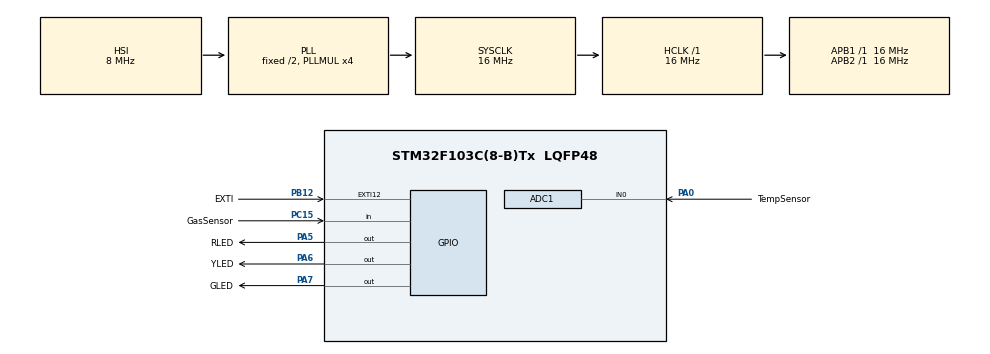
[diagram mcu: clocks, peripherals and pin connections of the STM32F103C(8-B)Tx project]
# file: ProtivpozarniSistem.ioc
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ADC1.Channel-0\#ChannelRegularConversion=ADC_CHANNEL_0
ADC1.NbrOfConversionFlag=1
ADC1.Rank-0\#ChannelRegularConversion=1
ADC1.SamplingTime-0\#ChannelRegularConversion=ADC_SAMPLETIME_1CYCLE_5
ADC1.master=1
FREERTOS.CountingSemaphores01=countingSemaphore,2,Dynamic,NULL
FREERTOS.Tasks01=checkGas,0,128,StartGasSensor,Default,NULL,Dynamic,NULL,NULL;checkTemperatur,0,128,StartTemperatureSensor,Default,NULL,Dynamic,NULL,NULL;runActions,1,128,StartRunActions,Default,NULL,Dynamic,NULL,NULL
FREERTOS.configUSE_COUNTING_SEMAPHORES=1
FREERTOS.configUSE_TIMERS=1
Mcu.Family=STM32F1
Mcu.Name=STM32F103C(8-B)Tx
Mcu.Package=LQFP48
NVIC.EXTI15_10_IRQn=true\:5\:0\:false\:true\:true\:1\:true\:true\:true\:true
NVIC.PriorityGroup=NVIC_PRIORITYGROUP_4
NVIC.TIM1_UP_IRQn=true\:15\:0\:false\:false\:true\:false\:false\:true\:true
NVIC.TimeBase=TIM1_UP_IRQn
NVIC.TimeBaseIP=TIM1
PA0-WKUP.GPIO_Label=TempSensor
PA0-WKUP.Signal=ADCx_IN0
PA13.Mode=Serial_Wire
PA13.Signal=SYS_JTMS-SWDIO
PA14.Mode=Serial_Wire
PA14.Signal=SYS_JTCK-SWCLK
PA5.GPIO_Label=RLED
PA5.Signal=GPIO_Output
PA6.GPIO_Label=YLED
PA6.Signal=GPIO_Output
PA7.GPIO_Label=GLED
PA7.Signal=GPIO_Output
PB12.GPIO_Label=EXTI
PB12.GPIO_PuPd=GPIO_PULLUP
PB12.Signal=GPXTI12
PC15-OSC32_OUT.GPIO_Label=GasSensor
PC15-OSC32_OUT.Signal=GPIO_Input
PD0-OSC_IN.Mode=HSE-External-Oscillator
PD0-OSC_IN.Signal=RCC_OSC_IN
PD1-OSC_OUT.Mode=HSE-External-Oscillator
PD1-OSC_OUT.Signal=RCC_OSC_OUT
ProjectManager.HeapSize=0x200
ProjectManager.StackSize=0x400
ProjectManager.TargetToolchain=MDK-ARM V5.32
RCC.AHBFreq_Value=16000000
RCC.APB1Freq_Value=16000000
RCC.APB1TimFreq_Value=16000000
RCC.APB2Freq_Value=16000000
RCC.APB2TimFreq_Value=16000000
RCC.HCLKFreq_Value=16000000
RCC.PLLMUL=RCC_PLL_MUL4
RCC.SYSCLKFreq_VALUE=16000000
RCC.SYSCLKSource=RCC_SYSCLKSOURCE_PLLCLK
RCC.USBFreq_Value=16000000
SH.ADCx_IN0.0=ADC1_IN0,IN0
VP_FREERTOS_VS_CMSIS_V1.Mode=CMSIS_V1
VP_SYS_VS_tim1.Mode=TIM1
board=custom

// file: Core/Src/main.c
/* USER CODE BEGIN Header */
/**
  ******************************************************************************
  * @file           : main.c
  * @brief          : Main program body
  ******************************************************************************
  * @attention
  *
  * Copyright (c) 2023 STMicroelectronics.
  * All rights reserved.
  *
  * This software is licensed under terms that can be found in the LICENSE file
  * in the root directory of this software component.
  * If no LICENSE file comes with this software, it is provided AS-IS.
  *
  ******************************************************************************
  */
/* USER CODE END Header */
#include "main.h"
#include "cmsis_os.h"

/* USER CODE BEGIN Includes */
#include "stdbool.h"
/* USER CODE END Includes */

ADC_HandleTypeDef hadc1;

osThreadId checkGasHandle;
osThreadId checkTemperaturHandle;
osThreadId runActionsHandle;
osSemaphoreId countingSemaphoreHandle;
/* USER CODE BEGIN PV */
volatile float currentTemp = 0.0;
const float maxTemp = 150.0;

volatile bool isGasDetected = false;
volatile bool areSprinklersActivated = false;
/* USER CODE END PV */

void SystemClock_Config(void);
static void MX_GPIO_Init(void);
static void MX_ADC1_Init(void);
void StartGasSensor(void const * argument);
void StartTemperatureSensor(void const * argument);
void StartRunActions(void const * argument);

static void MX_NVIC_Init(void);

/* USER CODE BEGIN 0 */
void HAL_GPIO_EXTI_Callback(uint16_t GPIO_Pin)
{
	UNUSED(GPIO_Pin);
	if(GPIO_Pin == EXTI_Pin && areSprinklersActivated)
	{
		osSemaphoreWait(countingSemaphoreHandle, osWaitForever);
		areSprinklersActivated = false;

		HAL_GPIO_WritePin(RLED_GPIO_Port, RLED_Pin, 0);
		HAL_GPIO_WritePin(YLED_GPIO_Port, YLED_Pin, 0);
		HAL_GPIO_WritePin(GLED_GPIO_Port, GLED_Pin, 0);

		osSemaphoreRelease(countingSemaphoreHandle);
	}
}
/* USER CODE END 0 */

int main(void)
{

  /* MCU Configuration--------------------------------------------------------*/

  /* Reset of all peripherals, Initializes the Flash interface and the Systick. */
  HAL_Init();

  /* Configure the system clock */
  SystemClock_Config();

  /* Initialize all configured peripherals */
  MX_GPIO_Init();
  MX_ADC1_Init();

  /* Initialize interrupts */
  MX_NVIC_Init();

  /* Create the semaphores(s) */
  /* definition and creation of countingSemaphore */
  osSemaphoreDef(countingSemaphore);
  countingSemaphoreHandle = osSemaphoreCreate(osSemaphore(countingSemaphore), 2);

  /* Create the thread(s) */
  /* definition and creation of checkGas */
  osThreadDef(checkGas, StartGasSensor, osPriorityNormal, 0, 128);
  checkGasHandle = osThreadCreate(osThread(checkGas), NULL);

  /* definition and creation of checkTemperatur */
  osThreadDef(checkTemperatur, StartTemperatureSensor, osPriorityNormal, 0, 128);
  checkTemperaturHandle = osThreadCreate(osThread(checkTemperatur), NULL);

  /* definition and creation of runActions */
  osThreadDef(runActions, StartRunActions, osPriorityAboveNormal, 0, 128);
  runActionsHandle = osThreadCreate(osThread(runActions), NULL);

  /* Start scheduler */
  osKernelStart();

  /* We should never get here as control is now taken by the scheduler */
  /* Infinite loop */
  while (1)
  {

  }
}

void SystemClock_Config(void)
{
  RCC_OscInitTypeDef RCC_OscInitStruct = {0};
  RCC_ClkInitTypeDef RCC_ClkInitStruct = {0};
  RCC_PeriphCLKInitTypeDef PeriphClkInit = {0};

  /** Initializes the RCC Oscillators according to the specified parameters
  * in the RCC_OscInitTypeDef structure.
  */
  RCC_OscInitStruct.OscillatorType = RCC_OSCILLATORTYPE_HSI;
  RCC_OscInitStruct.HSIState = RCC_HSI_ON;
  RCC_OscInitStruct.HSICalibrationValue = RCC_HSICALIBRATION_DEFAULT;
  RCC_OscInitStruct.PLL.PLLState = RCC_PLL_ON;
  RCC_OscInitStruct.PLL.PLLSource = RCC_PLLSOURCE_HSI_DIV2;
  RCC_OscInitStruct.PLL.PLLMUL = RCC_PLL_MUL4;
  if (HAL_RCC_OscConfig(&RCC_OscInitStruct) != HAL_OK)
  {
    Error_Handler();
  }

  /** Initializes the CPU, AHB and APB buses clocks
  */
  RCC_ClkInitStruct.ClockType = RCC_CLOCKTYPE_HCLK|RCC_CLOCKTYPE_SYSCLK
                              |RCC_CLOCKTYPE_PCLK1|RCC_CLOCKTYPE_PCLK2;
  RCC_ClkInitStruct.SYSCLKSource = RCC_SYSCLKSOURCE_PLLCLK;
  RCC_ClkInitStruct.AHBCLKDivider = RCC_SYSCLK_DIV1;
  RCC_ClkInitStruct.APB1CLKDivider = RCC_HCLK_DIV1;
  RCC_ClkInitStruct.APB2CLKDivider = RCC_HCLK_DIV1;

  if (HAL_RCC_ClockConfig(&RCC_ClkInitStruct, FLASH_LATENCY_0) != HAL_OK)
  {
    Error_Handler();
  }
  PeriphClkInit.PeriphClockSelection = RCC_PERIPHCLK_ADC;
  PeriphClkInit.AdcClockSelection = RCC_ADCPCLK2_DIV2;
  if (HAL_RCCEx_PeriphCLKConfig(&PeriphClkInit) != HAL_OK)
  {
    Error_Handler();
  }
}

/**
  * @brief NVIC Configuration.
  * @retval None
  */
static void MX_NVIC_Init(void)
{
  /* EXTI15_10_IRQn interrupt configuration */
  HAL_NVIC_SetPriority(EXTI15_10_IRQn, 5, 0);
  HAL_NVIC_EnableIRQ(EXTI15_10_IRQn);
}

static void MX_ADC1_Init(void)
{

  ADC_ChannelConfTypeDef sConfig = {0};

  /** Common config
  */
  hadc1.Instance = ADC1;
  hadc1.Init.ScanConvMode = ADC_SCAN_DISABLE;
  hadc1.Init.ContinuousConvMode = DISABLE;
  hadc1.Init.DiscontinuousConvMode = DISABLE;
  hadc1.Init.ExternalTrigConv = ADC_SOFTWARE_START;
  hadc1.Init.DataAlign = ADC_DATAALIGN_RIGHT;
  hadc1.Init.NbrOfConversion = 1;
  if (HAL_ADC_Init(&hadc1) != HAL_OK)
  {
    Error_Handler();
  }

  /** Configure Regular Channel
  */
  sConfig.Channel = ADC_CHANNEL_0;
  sConfig.Rank = ADC_REGULAR_RANK_1;
  sConfig.SamplingTime = ADC_SAMPLETIME_1CYCLE_5;
  if (HAL_ADC_ConfigChannel(&hadc1, &sConfig) != HAL_OK)
  {
    Error_Handler();
  }

}

static void MX_GPIO_Init(void)
{
  GPIO_InitTypeDef GPIO_InitStruct = {0};

  /* GPIO Ports Clock Enable */
  __HAL_RCC_GPIOC_CLK_ENABLE();
  __HAL_RCC_GPIOD_CLK_ENABLE();
  __HAL_RCC_GPIOA_CLK_ENABLE();
  __HAL_RCC_GPIOB_CLK_ENABLE();

  /*Configure GPIO pin Output Level */
  HAL_GPIO_WritePin(GPIOA, RLED_Pin|YLED_Pin|GLED_Pin, GPIO_PIN_RESET);

  /*Configure GPIO pin : GasSensor_Pin */
  GPIO_InitStruct.Pin = GasSensor_Pin;
  GPIO_InitStruct.Mode = GPIO_MODE_INPUT;
  GPIO_InitStruct.Pull = GPIO_NOPULL;
  HAL_GPIO_Init(GasSensor_GPIO_Port, &GPIO_InitStruct);

  /*Configure GPIO pins : RLED_Pin YLED_Pin GLED_Pin */
  GPIO_InitStruct.Pin = RLED_Pin|YLED_Pin|GLED_Pin;
  GPIO_InitStruct.Mode = GPIO_MODE_OUTPUT_PP;
  GPIO_InitStruct.Pull = GPIO_NOPULL;
  GPIO_InitStruct.Speed = GPIO_SPEED_FREQ_LOW;
  HAL_GPIO_Init(GPIOA, &GPIO_InitStruct);

  /*Configure GPIO pin : EXTI_Pin */
  GPIO_InitStruct.Pin = EXTI_Pin;
  GPIO_InitStruct.Mode = GPIO_MODE_IT_RISING;
  GPIO_InitStruct.Pull = GPIO_PULLUP;
  HAL_GPIO_Init(EXTI_GPIO_Port, &GPIO_InitStruct);

}

void StartGasSensor(void const * argument)
{
  /* USER CODE BEGIN 5 */
  /* Infinite loop */
  for(;;)
  {
		if(HAL_GPIO_ReadPin(GasSensor_GPIO_Port, GasSensor_Pin) == 0)
			isGasDetected = true;
		else
			isGasDetected = false;

    osDelay(10);
  }
  /* USER CODE END 5 */
}

void StartTemperatureSensor(void const * argument)
{
  /* USER CODE BEGIN StartTemperatureSensor */
  /* Infinite loop */
  for(;;)
  {
		HAL_ADC_Start(&hadc1);
		if(HAL_ADC_PollForConversion(&hadc1, 5) == HAL_OK)
				currentTemp = (((HAL_ADC_GetValue(&hadc1) * 500.0)/4095.0) * 2.393)+0.5;
		HAL_ADC_Stop(&hadc1);

    osDelay(10);
  }
  /* USER CODE END StartTemperatureSensor */
}

void StartRunActions(void const * argument)
{
  /* USER CODE BEGIN StartRunActions */
  /* Infinite loop */
  for(;;)
  {
		if(!areSprinklersActivated)
		{
			osSemaphoreWait(countingSemaphoreHandle, osWaitForever);
			if (isGasDetected)
			{
				if (currentTemp > maxTemp)
				{
					HAL_GPIO_WritePin(RLED_GPIO_Port, RLED_Pin, 1);
					HAL_GPIO_WritePin(YLED_GPIO_Port, YLED_Pin, 0);
					HAL_GPIO_WritePin(GLED_GPIO_Port, GLED_Pin, 0);

					areSprinklersActivated = true;
				}
				else
				{
					HAL_GPIO_WritePin(RLED_GPIO_Port, RLED_Pin, 0);
					HAL_GPIO_WritePin(YLED_GPIO_Port, YLED_Pin, 1);
					HAL_GPIO_WritePin(GLED_GPIO_Port, GLED_Pin, 0);
				}
			}
			else
			{
				HAL_GPIO_WritePin(RLED_GPIO_Port, RLED_Pin, 0);
				HAL_GPIO_WritePin(YLED_GPIO_Port, YLED_Pin, 0);
				HAL_GPIO_WritePin(GLED_GPIO_Port, GLED_Pin, 1);
			}
			osSemaphoreRelease(countingSemaphoreHandle);
		}
    osDelay(10);
  }
  /* USER CODE END StartRunActions */
}

void HAL_TIM_PeriodElapsedCallback(TIM_HandleTypeDef *htim)
{
  if (htim->Instance == TIM1) {
    HAL_IncTick();
  }
}

void Error_Handler(void)
{
  __disable_irq();
  while (1)
  {
  }
}
